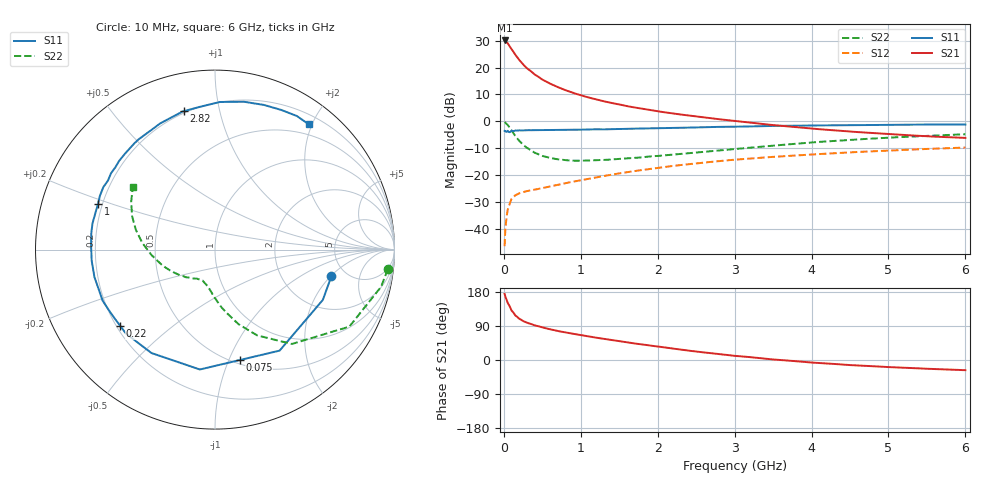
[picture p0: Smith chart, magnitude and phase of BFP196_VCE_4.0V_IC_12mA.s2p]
! Infineon Technologies  Discrete & RF Semiconductors
! BFP196
! VCE = 4.0 V,  IC =  12mA
! Common Emitter S-Parameters:  Jan 2016
# GHz  S  MA  R  50
!  f  S11  S21  S12  S22
! GHz  MAG  ANG  MAG  ANG  MAG  ANG  MAG  ANG
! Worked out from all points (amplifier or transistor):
!   210 points, 10 MHz to 6 GHz, reference 50 ohm
!   highest |S21| = 30.1 dB at 10 MHz (marker M1)
!   |S21| within 3 dB of that: start of sweep to 95.72 MHz
!   unconditionally stable (mu >= 1): 842.2 MHz to 3.431 GHz
!   at 185 MHz: K = 0.34, MSG = 25.2 dB, |S12| = -26.9 dB
!   at 1.52 GHz: K = 1.13, MAG = 10.5 dB, |S12| = -19.2 dB
!   at 6 GHz: K = 0.96, MSG = 1.8 dB, |S12| = -9.7 dB
!   S11 on the Smith chart (normalised r, x): 10 MHz: 3.83, -2.04; 75 MHz: 0.54, -1.10; 220 MHz: 0.21, -0.34; 1 GHz: 0.18, +0.18; 2.82 GHz: 0.19, +0.78; 6 GHz: 0.34, +1.96
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0.01  0.6652 -12.9  31.83 174.4  0.0048 86.2  0.9688 -6.5
0.02  0.663 -25.0  31.13 167.2  0.01 78.9  0.9485 -12.6
0.05  0.6681 -57.4  28.28 150.9  0.0227 64.7  0.8629 -29.8
0.075  0.6307 -77.4  24.82 142.0  0.0291 55.2  0.7581 -39.0
0.1  0.6733 -97.2  22.14 130.6  0.0361 49.2  0.6787 -50.8
0.15  0.6764 -121.6  17.17 117.4  0.0424 41.4  0.5327 -63.8
0.2  0.682 -136.7  13.87 108.9  0.0461 37.4  0.4357 -72.5
0.22  0.6779 -141.2  12.86 106.7  0.0471 36.6  0.4077 -74.7
0.26  0.6802 -149.4  11.05 101.9  0.0489 35.4  0.3581 -79.6
0.3  0.6876 -155.5  9.704 98.2  0.0507 35.3  0.3228 -83.7
0.4  0.6889 -167.2  7.458 91.5  0.0539 35.7  0.2621 -91.3
0.5  0.6898 -174.8  5.979 86.0  0.0574 37.4  0.2278 -96.7
0.7  0.6953 172.5  4.336 76.5  0.066 40.7  0.1974 -105.4
1  0.6994 158.7  3.047 65.6  0.0808 44.3  0.1858 -114.5
1.02  0.7008 158.0  2.992 65.0  0.0818 44.5  0.1861 -115.0
1.4  0.7188 143.7  2.189 52.8  0.1018 46.0  0.1961 -124.2
2.02  0.7475 124.2  1.523 35.0  0.1379 43.9  0.2289 -139.6
2.82  0.7906 102.6  1.087 15.1  0.1836 37.3  0.2903 -159.2
3.1  0.7997 96.1  0.981 9.3  0.1988 34.1  0.3153 -166.1
4.1  0.8405 77.4  0.715 -7.9  0.2469 23.3  0.4153 172.9
5.1  0.8628 63.4  0.57 -19.5  0.2908 12.2  0.5058 156.3
6  0.8721 53.1  0.493 -26.9  0.3258 1.7  0.576 142.6
